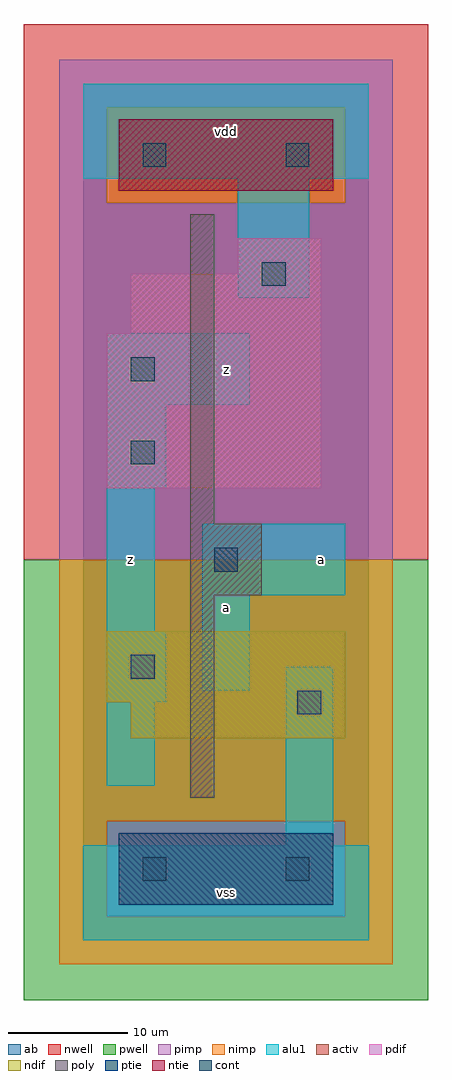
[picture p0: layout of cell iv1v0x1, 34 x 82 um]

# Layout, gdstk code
import gdstk
lib = gdstk.Library(unit=1e-6, precision=1e-09)
def R(c, l, rs):  # rectangles x0, y0, x1, y1
    for r in rs: c.add(gdstk.rectangle(r[:2], r[2:], *l))
ndif = (3, 0)
pdif = (4, 0)
ntie = (5, 0)
ptie = (6, 0)
cont = (25, 0)
pwell = (41, 0)
nwell = (42, 0)
activ = (43, 0)
pimp = (44, 0)
nimp = (45, 0)
poly = (46, 0)
alu1 = (49, 0)
ab = (63, 0)

iv1v0x1 = lib.new_cell('iv1v0x1')
R(iv1v0x1, ndif, [(4,17,22,20), (2,20,22,26)])
R(iv1v0x1, pdif, [(2,38,20,51), (4,51,20,56), (13,56,20,59)])
R(iv1v0x1, ntie, [(3,63,21,69)])
R(iv1v0x1, ptie, [(3,3,21,9)])
R(iv1v0x1, cont, [(5,5,7,7), (17,5,19,7), (18,19,20,21), (4,22,6,24), (11,31,13,33), (4,40,6,42), (4,47,6,49), (15,55,17,57), (5,65,7,67), (17,65,19,67)])
R(iv1v0x1, pwell, [(-5,-5,29,32)])
R(iv1v0x1, nwell, [(-5,32,29,77)])
R(iv1v0x1, activ, [(3,3,21,9), (4,17,22,20), (2,20,22,26), (2,38,20,51), (4,51,20,56), (13,56,20,59), (3,63,21,69)])
R(iv1v0x1, pimp, [(2,2,22,10), (-2,32,26,62), (-2,62,2,70), (22,62,26,70), (-2,70,26,74)])
R(iv1v0x1, nimp, [(-2,-2,26,2), (-2,2,2,10), (22,2,26,10), (-2,10,26,32), (2,62,22,70)])
R(iv1v0x1, poly, [(9,12,11,29), (9,29,15,35), (9,35,11,61)])
R(iv1v0x1, alu1, [(0,0,24,8), (17,8,21,23), (2,13,6,20), (2,20,7,26), (10,21,14,29), (2,26,6,38), (10,29,22,35), (2,38,7,45), (2,45,14,51), (13,54,19,64), (0,64,24,72)])
R(iv1v0x1, ab, [(0,0,24,72)])
iv1v0x1.add(gdstk.Label('z', (4,32), layer=49, texttype=0))
iv1v0x1.add(gdstk.Label('vss', (12,4), layer=49, texttype=0))
iv1v0x1.add(gdstk.Label('a', (12,28), layer=49, texttype=0))
iv1v0x1.add(gdstk.Label('z', (12,48), layer=49, texttype=0))
iv1v0x1.add(gdstk.Label('vdd', (12,68), layer=49, texttype=0))
iv1v0x1.add(gdstk.Label('a', (20,32), layer=49, texttype=0))

lib.write_gds('iv1v0x1.gds')
